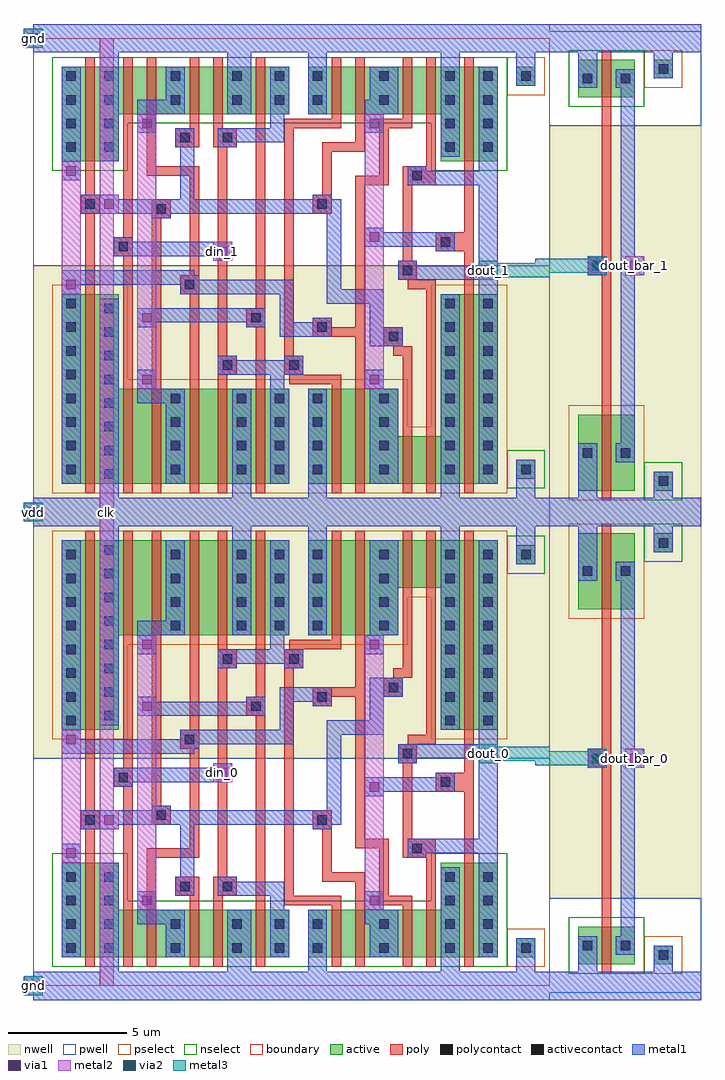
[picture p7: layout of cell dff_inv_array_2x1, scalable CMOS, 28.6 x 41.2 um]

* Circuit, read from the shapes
.subckt dff_inv_array_2x1 clk din_0 din_1 dout_0 dout_1 dout_bar_0 dout_bar_1 gnd vdd
M1 gnd clk n1 gnd nfet w=4u l=0.4u
M2 gnd clk n2 gnd nfet w=4u l=0.4u
M3 n3 din_0 gnd gnd nfet w=2u l=0.4u
M4 n4 din_1 gnd gnd nfet w=2u l=0.4u
M5 n5 n1 n3 gnd nfet w=2u l=0.4u
M6 n6 n2 n4 gnd nfet w=2u l=0.4u
M7 n7 clk n5 gnd nfet w=2u l=0.4u
M8 n8 clk n6 gnd nfet w=2u l=0.4u
M9 gnd n9 n7 gnd nfet w=2u l=0.4u
M10 gnd n10 n8 gnd nfet w=2u l=0.4u
M11 n9 n5 gnd gnd nfet w=2u l=0.4u
M12 n10 n6 gnd gnd nfet w=2u l=0.4u
M13 n11 n9 gnd gnd nfet w=2u l=0.4u
M14 n12 n10 gnd gnd nfet w=2u l=0.4u
M15 n13 clk n11 gnd nfet w=2u l=0.4u
M16 n14 clk n12 gnd nfet w=2u l=0.4u
M17 n15 n1 n13 gnd nfet w=2u l=0.4u
M18 n16 n2 n14 gnd nfet w=2u l=0.4u
M19 gnd dout_0 n15 gnd nfet w=2u l=0.4u
M20 gnd dout_1 n16 gnd nfet w=2u l=0.4u
M21 dout_0 n13 gnd gnd nfet w=4u l=0.4u
M22 dout_1 n14 gnd gnd nfet w=4u l=0.4u
M23 dout_bar_0 dout_0 gnd gnd nfet w=1.6u l=0.4u
M24 dout_bar_1 dout_1 gnd gnd nfet w=1.6u l=0.4u
M25 vdd clk n1 vdd pfet w=8u l=0.4u
M26 vdd clk n2 vdd pfet w=8u l=0.4u
M27 n17 din_0 vdd vdd pfet w=4u l=0.4u
M28 n18 din_1 vdd vdd pfet w=4u l=0.4u
M29 n5 clk n17 vdd pfet w=4u l=0.4u
M30 n6 clk n18 vdd pfet w=4u l=0.4u
M31 n19 n1 n5 vdd pfet w=4u l=0.4u
M32 n20 n2 n6 vdd pfet w=4u l=0.4u
M33 vdd n9 n19 vdd pfet w=4u l=0.4u
M34 vdd n10 n20 vdd pfet w=4u l=0.4u
M35 n9 n5 vdd vdd pfet w=4u l=0.4u
M36 n10 n6 vdd vdd pfet w=4u l=0.4u
M37 n21 n9 vdd vdd pfet w=4u l=0.4u
M38 n22 n10 vdd vdd pfet w=4u l=0.4u
M39 n13 n1 n21 vdd pfet w=4u l=0.4u
M40 n14 n2 n22 vdd pfet w=4u l=0.4u
M41 n23 clk n13 vdd pfet w=2u l=0.4u
M42 n24 clk n14 vdd pfet w=2u l=0.4u
M43 vdd dout_0 n23 vdd pfet w=2u l=0.4u
M44 vdd dout_1 n24 vdd pfet w=2u l=0.4u
M45 dout_0 n13 vdd vdd pfet w=8u l=0.4u
M46 dout_1 n14 vdd vdd pfet w=8u l=0.4u
M47 dout_bar_0 dout_0 vdd vdd pfet w=3.2u l=0.4u
M48 dout_bar_1 dout_1 vdd vdd pfet w=3.2u l=0.4u
.ends

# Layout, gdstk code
from math import pi, radians
import gdstk
lib = gdstk.Library(unit=1e-6, precision=1e-09)
def R(c, l, rs):  # rectangles x0, y0, x1, y1
    for r in rs: c.add(gdstk.rectangle(r[:2], r[2:], *l))
def A(c, l, x, y, w, h, nx, ny, dx, dy):  # array of equal rectangles
    R(c, l, [(x+i*dx, y+j*dy, x+i*dx+w, y+j*dy+h) for i in range(nx) for j in range(ny)])
pwell = (41, 0)
nwell = (42, 0)
active = (43, 0)
pselect = (44, 0)
nselect = (45, 0)
poly = (46, 0)
polycontact = (47, 0)
activecontact = (48, 0)
metal1 = (49, 0)
via1 = (50, 0)
metal2 = (51, 0)
via2 = (61, 0)
metal3 = (62, 0)
boundary = (63, 0)

dff = lib.new_cell('dff')
R(dff, pwell, [(0,-0.6,21.8,9.6)])
R(dff, nwell, [(0,9.6,21.8,20.6)])
R(dff, active, [(1.2,1.2,10.8,3.2), (11.6,1.2,19.6,3.2), (20.4,1.2,21.2,2), (1.2,3.2,3.6,5.2), (17.2,3.2,19.6,5.2), (1.2,10.8,3.6,14.8), (17.2,10.8,19.6,16.8), (1.2,14.8,10.8,18.8), (11.6,14.8,15.4,16.8), (11.6,16.8,19.6,18.8), (20.4,17.8,21.2,18.6)])
R(dff, pselect, [(20,0.8,21.6,2.4), (0.8,10.4,4,14.4), (16.8,10.4,20,16.4), (0.8,14.4,15.8,16.4), (0.8,16.4,20,19.2)])
R(dff, nselect, [(0.8,0.8,20,3.6), (0.8,3.6,4,5.6), (16.8,3.6,20,5.6), (20,17.4,21.6,19)])
R(dff, poly, [(2.2,0.8,2.6,6.6), (3.8,0.8,4.2,8.4), (4.8,0.8,5.2,5.4), (6.6,0.8,7,3.8), (7.6,0.8,8,3.8), (9.4,0.8,9.8,11.4), (12.6,0.8,13,3.4), (13.6,0.8,14,4.4), (15.6,0.8,16,3.4), (16.6,0.8,17,5.4), (18.2,0.8,18.6,8.2), (10.6,3.4,13,3.8), (14.6,3.4,16,3.8), (6,3.8,7,4.6), (7.6,3.8,8.6,4.6), (10.6,3.8,11,13.4), (14.6,3.8,15,5.8), (12.2,4.4,14,4.8), (7.8,4.6,8.2,13.4), (12.2,4.8,12.6,6.6), (4.8,5.4,7,5.8), (15.6,5.4,17,6.2), (6.6,5.8,7,10), (13.6,5.8,15,6.2), (13.6,6.2,14,12.2), (15.6,6.2,16,9.4), (2,6.6,2.8,7.4), (11.8,6.6,12.6,7.4), (5,6.8,5.8,7.6), (2.2,7.4,2.6,19.2), (5,7.6,5.4,19.2), (17,8.2,18.6,9), (3.4,8.4,4.2,9.2), (18.2,9,18.6,19.2), (3.8,9.2,4.2,19.2), (15.4,9.4,16.2,10.2), (6.2,10,7,10.8), (15.8,10.2,17,10.6), (16.6,10.6,17,19.2), (6.6,10.8,7,19.2), (9,11.4,9.8,12.2), (11.8,11.8,12.6,12.2), (9.4,12.2,9.8,19.2), (11.8,12.2,14,12.6), (14.8,12.2,15.6,13), (13.6,12.6,14,19.2), (15.2,13,16,13.4), (7.8,13.4,8.6,14.2), (10.6,13.4,11.4,14.2), (15.6,13.4,16,19.2), (7.8,14.2,8.2,19.2), (10.8,14.2,13,14.6), (12.6,14.6,13,19.2)])
R(dff, polycontact, [(6.2,4,6.6,4.4), (8,4,8.4,4.4), (16,5.6,16.4,6), (2.2,6.8,2.6,7.2), (12,6.8,12.4,7.2), (5.2,7,5.6,7.4), (17.2,8.4,17.6,8.8), (3.6,8.6,4,9), (15.6,9.6,16,10), (6.4,10.2,6.8,10.6), (9.2,11.6,9.6,12), (12,12,12.4,12.4), (15,12.4,15.4,12.8), (8,13.6,8.4,14), (10.8,13.6,11.2,14)])
A(dff, activecontact, 1.4, 1.4, 0.4, 0.4, 1, 4, 0, 1)
A(dff, activecontact, 3, 1.4, 0.4, 0.4, 1, 4, 0, 1)
A(dff, activecontact, 11.8, 1.4, 0.4, 0.4, 3, 2, 2.8, 1)
A(dff, activecontact, 19, 1.4, 0.4, 0.4, 1, 4, 0, 1)
A(dff, activecontact, 1.4, 11, 0.4, 0.4, 1, 8, 0, 1)
A(dff, activecontact, 17.4, 11, 0.4, 0.4, 1, 7, 0, 1)
A(dff, activecontact, 19, 11, 0.4, 0.4, 1, 7, 0, 1)
A(dff, activecontact, 3, 11.2, 0.4, 0.4, 1, 8, 0, 1)
A(dff, activecontact, 5.8, 15, 0.4, 0.4, 1, 4, 0, 1)
A(dff, activecontact, 8.6, 15, 0.4, 0.4, 3, 4, 1.6, 1)
A(dff, activecontact, 14.6, 15, 0.4, 0.4, 1, 4, 0, 1)
A(dff, activecontact, 17.4, 18, 0.4, 0.4, 3, 1, 1.6, 0)
R(dff, activecontact, [(5.8,1.4,6.2,1.8), (8.4,1.4,8.8,1.8), (10.2,1.4,10.6,1.8), (20.6,1.4,21,1.8), (5.8,2.4,6.2,2.8), (8.4,2.4,8.8,2.8), (10.2,2.4,10.6,2.8), (17.4,3.4,17.8,3.8), (17.4,4.4,17.8,4.8)])
R(dff, metal1, [(0,-0.6,21.8,0.6), (0,-0.6,21.8,0.6), (2.8,0.6,3.6,5.2), (8.2,0.6,9.2,3.2), (11.6,0.6,12.4,3.2), (17.2,0.6,18,5), (20.4,0.6,21.2,2), (1.2,1.2,2,6), (5.6,1.2,6.4,2.6), (10,1.2,10.8,3.2), (14.2,1.2,15.4,2.6), (18.8,1.2,19.6,5.6), (4.4,2.6,6.4,3.2), (14,2.6,15.4,3.2), (4.4,3.2,5.2,4), (10,3.2,10.6,3.8), (14,3.2,14.8,4), (6,3.8,6.8,4.6), (7.8,3.8,10.6,4.4), (7.8,4.4,8.6,4.6), (6.2,4.6,6.8,6.8), (15.8,5.4,16.6,5.6), (15.8,5.6,19.6,6.2), (18.8,6.2,19.6,9.6), (2,6.6,3.6,6.8), (11.8,6.6,12.6,6.8), (2,6.8,13,7.4), (5,7.4,5.8,7.6), (12.4,7.4,13,10.6), (14,8,14.8,8.2), (14,8.2,17.8,8.8), (3.4,8.4,4.2,8.6), (3.4,8.6,8.4,9.2), (17,8.8,17.8,9), (7.6,9.2,8.4,9.4), (15.4,9.4,16.2,9.6), (15.4,9.6,19.6,10.2), (1.2,9.8,6.8,10), (1.2,10,7,10.2), (1.2,10.2,11,10.4), (18.8,10.2,19.6,18.8), (1.2,10.4,2,18.8), (6.2,10.4,11,10.8), (12.4,10.6,14.8,11.2), (10.4,10.8,11,12), (17.2,10.8,18,19.4), (2.8,11,3.6,19.4), (14.2,11.2,14.8,12.2), (4.4,11.4,9.8,12), (11.8,11.8,12.6,12), (4.4,12,5.2,12.2), (9,12,9.8,12.2), (10.4,12,12.6,12.6), (14.2,12.2,15.6,13), (7.8,13.4,8.6,13.6), (10.6,13.4,11.4,13.6), (7.8,13.6,11.4,14.2), (4.4,14,5.2,14.8), (14,14,14.8,14.8), (10,14.2,10.6,14.8), (4.4,14.8,6.4,15.4), (8.4,14.8,9.2,19.4), (10,14.8,10.8,18.8), (11.6,14.8,12.4,19.4), (14.2,14.8,15.4,18.8), (5.6,15.4,6.4,18.8), (20.4,17.8,21.2,19.4), (0,19.4,21.8,20.6), (0,19.4,21.8,20.6)])
R(dff, via1, [(4.6,3.4,5,3.8), (14.2,3.4,14.6,3.8), (1.4,5.4,1.8,5.8), (3,6.8,3.4,7.2), (14.2,8.2,14.6,8.6), (7.8,8.8,8.2,9.2), (19,9.6,19.4,10), (1.4,10.2,1.8,10.6), (4.6,11.6,5,12), (4.6,14.2,5,14.6), (14.2,14.2,14.6,14.6)])
R(dff, metal2, [(4.4,3.2,5.2,14.8), (14,3.2,14.8,14.8), (1.2,5.2,2,10.8), (2.8,6.6,3.6,7.4), (2.8,6.6,3.6,7.4), (7.6,8.6,8.4,9.4), (7.6,8.6,8.4,9.4), (18.8,9.4,19.6,10.2), (18.8,9.4,19.6,10.2)])
R(dff, boundary, [(0,0,21.8,20)])
dff.add(gdstk.Label('clk', (3,6.8), layer=51, texttype=0))
dff.add(gdstk.Label('D', (8,9), layer=51, texttype=0))
dff.add(gdstk.Label('Q', (19.2,9.8), layer=51, texttype=0))
dff.add(gdstk.Label('vdd', (6.4,19.6), layer=49, texttype=0))
dff.add(gdstk.Label('gnd', (8.8,0.2), layer=49, texttype=0))
dff.add(gdstk.Label('D', (8,9), layer=51, texttype=0))
dff.add(gdstk.Label('Q', (19.2,9.8), layer=51, texttype=0))
dff.add(gdstk.Label('clk', (3.2,7), layer=51, texttype=0))
dff.add(gdstk.Label('vdd', (10.9,20), layer=49, texttype=0))
dff.add(gdstk.Label('gnd', (10.9,0), layer=49, texttype=0))

active_contact_metal1_1x = lib.new_cell('active_contact_metal1_1x1_pn')
R(active_contact_metal1_1x, nwell, [(-1.2,-1.2,2,2)])
R(active_contact_metal1_1x, active, [(0,0,0.8,0.8)])
R(active_contact_metal1_1x, pselect, [(-0.4,-0.4,1.2,1.2)])
R(active_contact_metal1_1x, activecontact, [(0.2,0.2,0.6,0.6)])
R(active_contact_metal1_1x, metal1, [(0,0,0.8,0.8)])

pmos_m1_w3_2_a_p = lib.new_cell('pmos_m1_w3_2_a_p')
R(pmos_m1_w3_2_a_p, nwell, [(-1.2,-1.2,3.6,4.4)])
R(pmos_m1_w3_2_a_p, active, [(0,0,2.4,3.2)])
R(pmos_m1_w3_2_a_p, pselect, [(-0.4,-0.4,2.8,3.6)])
R(pmos_m1_w3_2_a_p, poly, [(1,-0.4,1.4,3.6), (1,-0.4,1.4,3.6)])
R(pmos_m1_w3_2_a_p, metal1, [(0,1.2,0.8,2), (1.6,1.2,2.4,2)])
pmos_m1_w3_2_a_p.add(gdstk.Reference(active_contact_metal1_1x, (0,1.2)))
pmos_m1_w3_2_a_p.add(gdstk.Reference(active_contact_metal1_1x, (1.6,1.2)))
pmos_m1_w3_2_a_p.add(gdstk.Label('G', (1.2,1.6), layer=46, texttype=0))
pmos_m1_w3_2_a_p.add(gdstk.Label('S', (0.4,1.6), layer=49, texttype=0))
pmos_m1_w3_2_a_p.add(gdstk.Label('D', (2,1.6), layer=49, texttype=0))

c_active_contact_metal1_1x = lib.new_cell('active_contact_metal1_1x1_np')
R(c_active_contact_metal1_1x, pwell, [(-1.2,-1.2,2,2)])
R(c_active_contact_metal1_1x, active, [(0,0,0.8,0.8)])
R(c_active_contact_metal1_1x, nselect, [(-0.4,-0.4,1.2,1.2)])
R(c_active_contact_metal1_1x, activecontact, [(0.2,0.2,0.6,0.6)])
R(c_active_contact_metal1_1x, metal1, [(0,0,0.8,0.8)])

nmos_m1_w1_6_a_p = lib.new_cell('nmos_m1_w1_6_a_p')
R(nmos_m1_w1_6_a_p, pwell, [(-1.2,-1.2,3.6,2.8)])
R(nmos_m1_w1_6_a_p, active, [(0,0,2.4,1.6)])
R(nmos_m1_w1_6_a_p, nselect, [(-0.4,-0.4,2.8,2)])
R(nmos_m1_w1_6_a_p, poly, [(1,-0.4,1.4,2), (1,-0.4,1.4,2)])
R(nmos_m1_w1_6_a_p, metal1, [(0,0.4,0.8,1.2), (1.6,0.4,2.4,1.2)])
nmos_m1_w1_6_a_p.add(gdstk.Reference(c_active_contact_metal1_1x, (0,0.4)))
nmos_m1_w1_6_a_p.add(gdstk.Reference(c_active_contact_metal1_1x, (1.6,0.4)))
nmos_m1_w1_6_a_p.add(gdstk.Label('G', (1.2,0.8), layer=46, texttype=0))
nmos_m1_w1_6_a_p.add(gdstk.Label('S', (0.4,0.8), layer=49, texttype=0))
nmos_m1_w1_6_a_p.add(gdstk.Label('D', (2,0.8), layer=49, texttype=0))

c_active_contact_metal1_1x_ = lib.new_cell('active_contact_metal1_1x1_nn')
R(c_active_contact_metal1_1x_, nwell, [(-1.2,-1.2,2,2)])
R(c_active_contact_metal1_1x_, active, [(0,0,0.8,0.8)])
R(c_active_contact_metal1_1x_, nselect, [(-0.4,-0.4,1.2,1.2)])
R(c_active_contact_metal1_1x_, activecontact, [(0.2,0.2,0.6,0.6)])
R(c_active_contact_metal1_1x_, metal1, [(0,0,0.8,0.8)])

c_active_contact_metal1_1x__ = lib.new_cell('active_contact_metal1_1x1_pp')
R(c_active_contact_metal1_1x__, pwell, [(-1.2,-1.2,2,2)])
R(c_active_contact_metal1_1x__, active, [(0,0,0.8,0.8)])
R(c_active_contact_metal1_1x__, pselect, [(-0.4,-0.4,1.2,1.2)])
R(c_active_contact_metal1_1x__, activecontact, [(0.2,0.2,0.6,0.6)])
R(c_active_contact_metal1_1x__, metal1, [(0,0,0.8,0.8)])

poly_contact_metal1_1x1 = lib.new_cell('poly_contact_metal1_1x1')
R(poly_contact_metal1_1x1, poly, [(0,0,0.8,0.8)])
R(poly_contact_metal1_1x1, polycontact, [(0.2,0.2,0.6,0.6)])
R(poly_contact_metal1_1x1, metal1, [(0,0,0.8,0.8)])

pinv_2 = lib.new_cell('pinv_2')
R(pinv_2, pwell, [(0,-0.3,6.4,3.7)])
R(pinv_2, nwell, [(0,3.7,6.4,20.3)])
R(pinv_2, poly, [(2.2,0.5,2.6,15.5), (2,9.2,2.2,10)])
R(pinv_2, metal1, [(0,-0.3,6.4,0.3), (1.2,-0.3,2,1.3), (4.4,0,5.2,1.3), (3,1.3,3.6,17.1), (1.6,9.2,2.4,10), (3.3,9.3,3.9,9.9), (1.2,17.1,2,20.3), (4.4,18.7,5.2,20), (0,19.7,6.4,20.3)])
pinv_2.add(gdstk.Reference(pmos_m1_w3_2_a_p, (1.2,15.9)))
pinv_2.add(gdstk.Reference(nmos_m1_w1_6_a_p, (1.2,0.9)))
pinv_2.add(gdstk.Reference(c_active_contact_metal1_1x_, (4.4,18.3)))
pinv_2.add(gdstk.Reference(c_active_contact_metal1_1x__, (4.4,0.9)))
pinv_2.add(gdstk.Reference(poly_contact_metal1_1x1, (1.6,9.2)))
pinv_2.add(gdstk.Label('gnd', (3.2,0), layer=49, texttype=0))
pinv_2.add(gdstk.Label('vdd', (3.2,20), layer=49, texttype=0))
pinv_2.add(gdstk.Label('A', (2,9.6), layer=49, texttype=0))
pinv_2.add(gdstk.Label('Z', (3.6,9.6), layer=49, texttype=0))

metal2_via2_metal3_1x1 = lib.new_cell('metal2_via2_metal3_1x1')
R(metal2_via2_metal3_1x1, metal2, [(0,0,0.8,0.8)])
R(metal2_via2_metal3_1x1, via2, [(0.2,0.2,0.6,0.6)])
R(metal2_via2_metal3_1x1, metal3, [(0,0,0.8,0.8)])

metal1_via1_metal2_1x1 = lib.new_cell('metal1_via1_metal2_1x1')
R(metal1_via1_metal2_1x1, metal1, [(0,0,0.8,0.8)])
R(metal1_via1_metal2_1x1, via1, [(0.2,0.2,0.6,0.6)])
R(metal1_via1_metal2_1x1, metal2, [(0,0,0.8,0.8)])

dff_inv_2 = lib.new_cell('dff_inv_2')
R(dff_inv_2, metal1, [(0,-0.6,28.2,0.6), (0,19.4,28.2,20.6)])
R(dff_inv_2, metal2, [(2.8,6.6,3.6,7.4), (7.6,8.6,8.4,9.4), (25.1,9.3,25.7,9.9), (18.9,9.5,19.5,10.1)])
R(dff_inv_2, metal3, [(21.2,9.3,21.8,9.9), (21.5,9.3,23.8,9.9), (19.2,9.5,21.5,10.1), (21.2,9.5,21.8,10.1), (21.2,9.6,21.8,9.8)])
dff_inv_2.add(gdstk.Reference(dff, (0,0)))
dff_inv_2.add(gdstk.Reference(pinv_2, (21.8,0)))
dff_inv_2.add(gdstk.Reference(metal2_via2_metal3_1x1, (18.8,9.4)))
dff_inv_2.add(gdstk.Reference(metal2_via2_metal3_1x1, (23.4,9.2)))
dff_inv_2.add(gdstk.Reference(metal1_via1_metal2_1x1, (23.4,9.2)))
dff_inv_2.add(gdstk.Reference(metal1_via1_metal2_1x1, (25,9.2)))
dff_inv_2.add(gdstk.Label('vdd', (14.1,20), layer=49, texttype=0))
dff_inv_2.add(gdstk.Label('gnd', (14.1,0), layer=49, texttype=0))
dff_inv_2.add(gdstk.Label('clk', (3.2,7), layer=51, texttype=0))
dff_inv_2.add(gdstk.Label('D', (8,9), layer=51, texttype=0))
dff_inv_2.add(gdstk.Label('Q', (19.2,9.8), layer=51, texttype=0))
dff_inv_2.add(gdstk.Label('Qb', (25.4,9.6), layer=51, texttype=0))

dff_inv_array_2x1 = lib.new_cell('dff_inv_array_2x1')
R(dff_inv_array_2x1, metal2, [(2.8,0,3.4,40), (7.6,8.6,8.4,9.4), (25.1,9.3,25.7,9.9), (18.9,9.5,19.5,10.1), (18.9,29.9,19.5,30.5), (25.1,30.1,25.7,30.7), (7.6,30.6,8.4,31.4)])
A(dff_inv_array_2x1, metal3, -0.4, -0.4, 0.8, 0.8, 1, 3, 0, 20)
dff_inv_array_2x1.add(gdstk.Reference(dff_inv_2, (0,0)))
dff_inv_array_2x1.add(gdstk.Reference(dff_inv_2, (0,40), x_reflection=True))
dff_inv_array_2x1.add(gdstk.Reference(metal1_via1_metal2_1x1, (0.4,19.6), rotation=pi/2))
dff_inv_array_2x1.add(gdstk.Reference(metal2_via2_metal3_1x1, (0.4,19.6), rotation=pi/2))
dff_inv_array_2x1.add(gdstk.Reference(metal1_via1_metal2_1x1, (0.4,-0.4), rotation=pi/2))
dff_inv_array_2x1.add(gdstk.Reference(metal2_via2_metal3_1x1, (0.4,-0.4), rotation=pi/2))
dff_inv_array_2x1.add(gdstk.Reference(metal1_via1_metal2_1x1, (0.4,19.6), rotation=pi/2))
dff_inv_array_2x1.add(gdstk.Reference(metal2_via2_metal3_1x1, (0.4,19.6), rotation=pi/2))
dff_inv_array_2x1.add(gdstk.Reference(metal1_via1_metal2_1x1, (0.4,39.6), rotation=pi/2))
dff_inv_array_2x1.add(gdstk.Reference(metal2_via2_metal3_1x1, (0.4,39.6), rotation=pi/2))
dff_inv_array_2x1.add(gdstk.Label('vdd', (0,20), layer=62, texttype=0))
dff_inv_array_2x1.add(gdstk.Label('gnd', (0,0), layer=62, texttype=0))
dff_inv_array_2x1.add(gdstk.Label('gnd', (0,40), layer=62, texttype=0))
dff_inv_array_2x1.add(gdstk.Label('din_0', (8,9), layer=51, texttype=0))
dff_inv_array_2x1.add(gdstk.Label('dout_0', (19.2,9.8), layer=51, texttype=0))
dff_inv_array_2x1.add(gdstk.Label('dout_bar_0', (25.4,9.6), layer=51, texttype=0))
dff_inv_array_2x1.add(gdstk.Label('din_1', (8,31), layer=51, texttype=0))
dff_inv_array_2x1.add(gdstk.Label('dout_1', (19.2,30.2), layer=51, texttype=0))
dff_inv_array_2x1.add(gdstk.Label('dout_bar_1', (25.4,30.4), layer=51, texttype=0))
dff_inv_array_2x1.add(gdstk.Label('clk', (3.1,20), layer=51, texttype=0))

lib.write_gds('dff_inv_array_2x1.gds')
